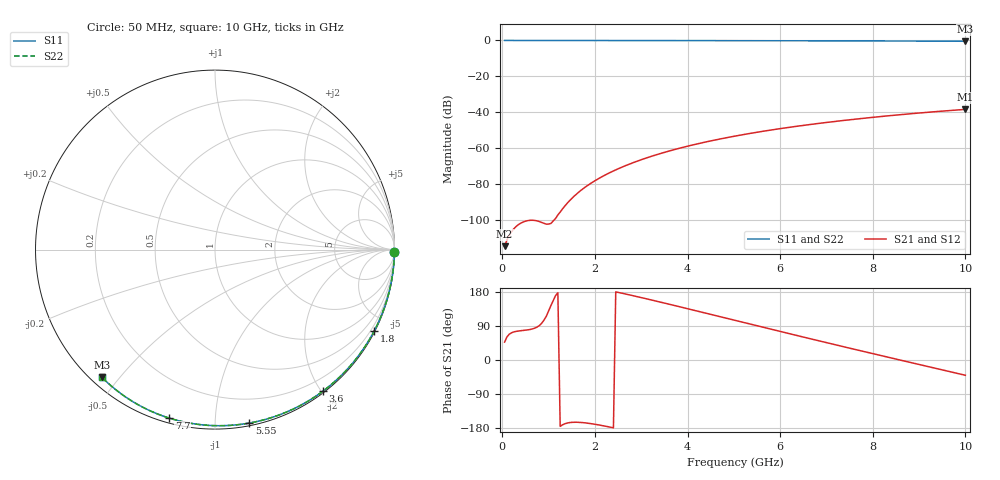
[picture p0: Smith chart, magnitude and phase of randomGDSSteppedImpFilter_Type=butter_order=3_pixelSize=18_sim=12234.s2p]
! freq	dB(S11)	phase(S11)	dB(S12)	phase(S12)
!  dB(S21)	phase(S21)	dB(S22)	phase(S22)
!S-par simulation data
#  GHz  S  DB  R 50
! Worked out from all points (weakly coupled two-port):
!   200 points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, 50 MHz to 10 GHz, reference 50 ohm
!   highest |S21| = -38.35 dB at 10 GHz (marker M1); lowest = -114.4 dB at 50 MHz (marker M2)
!   lowest |S11| = -0.4 dB at 10 GHz (marker M3), VSWR 38.92, Z = 1.54 - j22.4 ohm
!   |S11| at or under -10 dB: nowhere
!   |S22| runs from -0.4 to 0.0 dB; largest |S21 - S12| = 0
!   S11 on the Smith chart (normalised r, x): 50 MHz: open; 1.8 GHz: 0.04, -4.17; 3.6 GHz: 0.02, -2.02; 5.55 GHz: 0.02, -1.22; 7.7 GHz: 0.02, -0.76; 10 GHz: 0.03, -0.45
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0.05  -0.00 -0.8  -114.44 47.2  -114.44 47.2  -0.00 -0.8
0.9  -0.02 -13.6  -101.79 105.3  -101.79 105.3  -0.02 -13.6
1.75  -0.03 -26.2  -82.37 -165.4  -82.37 -165.4  -0.03 -26.2
1.8  -0.03 -27.0  -81.42 -166.1  -81.42 -166.1  -0.03 -27.0
1.85  -0.04 -27.7  -80.53 -166.8  -80.53 -166.8  -0.04 -27.7
1.9  -0.04 -28.5  -79.66 -167.7  -79.66 -167.7  -0.04 -28.5
2.05  -0.04 -30.6  -77.28 -170.6  -77.28 -170.6  -0.04 -30.6
2.25  -0.04 -33.6  -74.47 -175.2  -74.47 -175.2  -0.04 -33.6
2.45  -0.05 -36.5  -71.99 179.8  -71.99 179.8  -0.05 -36.5
2.65  -0.05 -39.3  -69.76 174.5  -69.76 174.5  -0.05 -39.3
3  -0.06 -44.3  -66.35 164.7  -66.35 164.7  -0.06 -44.3
3.4  -0.07 -50.0  -63.01 153.2  -63.01 153.2  -0.07 -50.0
3.6  -0.07 -52.8  -61.52 147.3  -61.52 147.3  -0.07 -52.8
4.3  -0.09 -62.4  -57.01 126.5  -57.01 126.5  -0.09 -62.4
5.05  -0.11 -72.3  -53.08 103.9  -53.08 103.9  -0.11 -72.3
5.55  -0.13 -78.8  -50.85 88.9  -50.85 88.9  -0.13 -78.8
6.1  -0.15 -85.8  -48.68 72.4  -48.68 72.4  -0.15 -85.8
6.7  -0.18 -93.2  -46.58 54.6  -46.58 54.6  -0.18 -93.2
7.7  -0.24 -105.2  -43.57 25.4  -43.57 25.4  -0.24 -105.2
8.35  -0.29 -112.8  -41.88 6.8  -41.88 6.8  -0.29 -112.8
9.15  -0.36 -122.0  -40.03 -16.1  -40.03 -16.1  -0.36 -122.0
10  -0.45 -131.7  -38.35 -40.3  -38.35 -40.3  -0.45 -131.7
